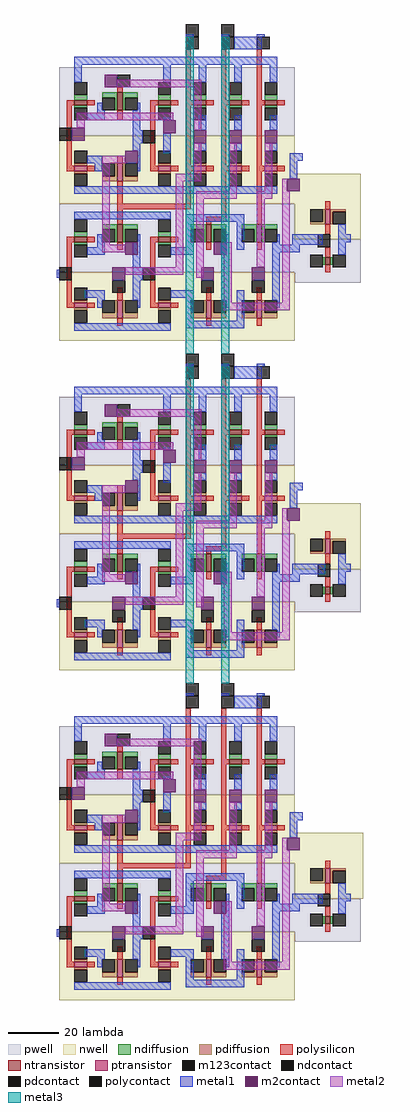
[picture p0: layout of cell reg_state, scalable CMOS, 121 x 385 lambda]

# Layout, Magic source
magic
tech scmos
<< nwell >>
rect 93 300 119 326
rect 93 170 119 196
rect 93 40 120 66
<< pwell >>
rect 95 38 104 40
<< metal1 >>
rect 69 375 80 380
rect 95 298 104 302
rect 69 245 80 250
rect 95 168 105 172
rect 69 115 80 120
rect 95 38 104 42
<< m123contact >>
rect 50 380 55 385
rect 64 380 69 385
rect 50 250 55 255
rect 64 250 69 255
rect 50 120 55 125
rect 64 120 69 125
<< metal3 >>
rect 50 255 53 380
rect 64 255 67 380
rect 50 125 53 250
rect 64 125 67 250
use INV1X  INV1X_0
array 0 0 7 0 2 130
transform 1 0 99 0 1 46
box -6 -23 20 12
use reg_one  reg_one_0
array 0 0 98 0 2 130
transform 1 0 15 0 1 3
box -16 -3 81 118
<< end >>

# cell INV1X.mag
magic
tech scmos
<< nwell >>
rect -6 -6 20 12
<< pwell >>
rect -6 -23 20 -6
<< ntransistor >>
rect 6 -16 8 -13
<< ptransistor >>
rect 6 0 8 6
<< ndiffusion >>
rect 5 -16 6 -13
rect 8 -16 9 -13
<< pdiffusion >>
rect 5 1 6 6
rect 0 0 6 1
rect 8 5 14 6
rect 8 0 9 5
<< ndcontact >>
rect 0 -17 5 -12
rect 9 -17 14 -12
<< pdcontact >>
rect 0 1 5 6
rect 9 0 14 5
<< polysilicon >>
rect 6 6 8 9
rect 6 -4 8 0
rect 6 -13 8 -9
rect 6 -19 8 -16
<< polycontact >>
rect 3 -9 8 -4
<< metal1 >>
rect 11 -4 14 0
rect 11 -7 16 -4
rect 11 -12 14 -7
<< end >>

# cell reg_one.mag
magic
tech scmos
<< nwell >>
rect -15 51 78 78
rect -15 -3 78 24
<< pwell >>
rect -15 78 78 105
rect -15 24 78 51
<< ntransistor >>
rect 8 88 10 95
<< ptransistor >>
rect 8 60 10 67
<< ndiffusion >>
rect 2 93 8 95
rect 7 88 8 93
rect 10 93 16 95
rect 10 88 11 93
<< pdiffusion >>
rect 7 62 8 67
rect 2 60 8 62
rect 10 62 11 67
rect 10 60 16 62
<< ndcontact >>
rect 2 88 7 93
rect 11 88 16 93
<< pdcontact >>
rect 2 62 7 67
rect 11 62 16 67
<< polysilicon >>
rect 8 95 10 97
rect 35 91 37 112
rect 49 91 51 112
rect 63 91 65 112
rect 8 84 10 88
rect 8 67 10 70
rect 8 51 10 60
rect 35 51 37 64
rect 8 49 37 51
rect 8 46 10 49
rect 49 46 51 65
rect 43 44 51 46
rect 63 44 65 66
rect 8 14 10 18
rect 43 14 45 18
rect 63 14 65 18
<< polycontact >>
rect 35 112 40 117
rect 49 112 54 117
rect 63 112 68 117
rect 8 97 13 102
rect -15 76 -10 81
rect 18 75 23 80
rect -15 21 -10 26
rect 18 21 23 26
<< metal1 >>
rect 35 117 38 118
rect 49 117 52 118
rect 63 117 66 118
rect -9 106 71 109
rect -9 99 -6 106
rect 26 99 29 106
rect 40 99 43 106
rect 54 99 57 106
rect 68 99 71 106
rect 0 88 2 91
rect 16 88 17 91
rect 0 87 3 88
rect -4 84 3 87
rect 14 80 17 88
rect 26 84 29 85
rect 14 75 18 80
rect 40 80 43 86
rect 54 80 57 86
rect 68 80 71 86
rect 14 72 17 75
rect -4 67 2 70
rect -1 64 2 67
rect 16 64 17 72
rect 26 71 29 79
rect 40 72 43 75
rect 54 72 57 75
rect 68 72 71 75
rect 76 68 81 71
rect 76 61 79 68
rect -9 55 71 58
rect -9 45 29 48
rect 35 44 58 47
rect 0 34 3 35
rect -4 31 3 34
rect 35 34 38 44
rect 55 37 58 44
rect 29 31 38 34
rect 77 35 81 39
rect 71 32 80 35
rect -16 22 -15 25
rect 16 21 18 26
rect 69 22 72 25
rect -5 14 1 17
rect 29 14 35 17
rect 35 5 38 12
rect 55 5 58 13
rect -9 1 29 4
rect 35 2 58 5
<< m2contact >>
rect 3 97 8 102
rect -10 76 -5 81
rect 26 79 31 84
rect 11 67 16 72
rect 38 75 43 80
rect 52 75 57 80
rect 66 75 71 80
rect 75 56 80 61
rect 11 31 16 36
rect 46 31 51 36
<< metal2 >>
rect 8 97 41 100
rect -8 84 30 87
rect -8 81 -5 84
rect 38 80 41 97
rect 2 67 11 70
rect 2 35 5 67
rect 38 63 41 75
rect 31 60 41 63
rect 2 32 11 35
rect 31 26 34 60
rect 52 56 55 75
rect 66 56 69 75
rect 11 23 34 26
rect 39 53 55 56
rect 63 53 69 56
rect 73 56 75 61
rect 39 22 42 53
rect 51 31 53 36
rect 50 12 53 31
rect 63 26 66 53
rect 73 12 76 56
rect 50 9 76 12
use inv_small  inv_small_0
transform 1 0 1 0 1 0
box -13 4 -2 45
use inv_small  inv_small_1
transform 1 0 34 0 1 0
box -13 4 -2 45
use inv_small  inv_small_2
transform 1 0 1 0 1 54
box -13 4 -2 45
use inv_small  inv_small_3
transform 1 0 34 0 1 54
box -13 4 -2 45
use inv_small  inv_small_4
transform 1 0 48 0 1 54
box -13 4 -2 45
use inv_small  inv_small_5
transform 1 0 62 0 1 54
box -13 4 -2 45
use inv_small  inv_small_6
transform 1 0 76 0 1 54
box -13 4 -2 45
use inv_small  inv_small_7
transform 1 0 1 0 1 0
box -13 4 -2 45
use inv_small  inv_small_8
transform 1 0 34 0 1 0
box -13 4 -2 45
use inv_small  inv_small_9
transform 1 0 1 0 1 54
box -13 4 -2 45
use inv_small  inv_small_10
transform 1 0 48 0 1 54
box -13 4 -2 45
use inv_small  inv_small_11
transform 1 0 34 0 1 54
box -13 4 -2 45
use inv_small  inv_small_12
transform 1 0 76 0 1 54
box -13 4 -2 45
use inv_small  inv_small_13
transform 1 0 62 0 1 54
box -13 4 -2 45
use trans_gate  trans_gate_0
transform 1 0 5 0 1 -2
box -5 5 12 48
use trans_gate  trans_gate_1
transform 1 0 40 0 1 -2
box -5 5 12 48
use trans_gate  trans_gate_2
transform 1 0 60 0 1 -2
box -5 5 12 48
use trans_gate  trans_gate_3
transform 1 0 5 0 1 -2
box -5 5 12 48
use trans_gate  trans_gate_4
transform 1 0 40 0 1 -2
box -5 5 12 48
use trans_gate  trans_gate_5
transform 1 0 60 0 1 -2
box -5 5 12 48
<< labels >>
rlabel metal1 35 117 38 118 1 w
rlabel metal1 49 117 52 118 1 r0
rlabel metal1 63 117 66 118 1 r1
rlabel metal1 -9 45 8 48 1 GND!
rlabel metal1 -9 1 11 4 5 Vdd!
rlabel metal1 -9 106 11 109 1 GND!
rlabel metal1 -9 55 11 58 5 Vdd!
rlabel metal1 -16 22 -15 25 7 in
rlabel metal1 14 73 17 77 7 stat_2
rlabel nwell 0 21 2 23 1 test
rlabel metal1 80 68 81 71 3 port0
rlabel metal1 80 36 81 39 3 port1
<< end >>

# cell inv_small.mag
magic
tech scmos
<< ntransistor >>
rect -10 36 -5 38
<< ptransistor >>
rect -10 10 -5 12
<< ndiffusion >>
rect -10 38 -5 40
rect -10 35 -5 36
<< pdiffusion >>
rect -10 12 -5 13
rect -10 9 -5 10
<< ndcontact >>
rect -10 40 -5 45
rect -10 30 -5 35
<< pdcontact >>
rect -10 13 -5 18
rect -10 4 -5 9
<< polysilicon >>
rect -13 36 -10 38
rect -5 36 -2 38
rect -13 12 -11 36
rect -13 10 -10 12
rect -5 10 -2 12
<< end >>

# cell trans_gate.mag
magic
tech scmos
<< ntransistor >>
rect 3 38 5 45
<< ptransistor >>
rect 3 8 5 15
<< ndiffusion >>
rect -3 43 3 45
rect 2 38 3 43
rect 5 43 11 45
rect 5 38 6 43
<< pdiffusion >>
rect 2 10 3 15
rect -3 8 3 10
rect 5 10 6 15
rect 5 8 11 10
<< ndcontact >>
rect -3 38 2 43
rect 6 38 11 43
<< pdcontact >>
rect -3 10 2 15
rect 6 10 11 15
<< polysilicon >>
rect 3 45 5 48
rect 3 35 5 38
rect 3 15 5 18
rect 3 5 5 8
<< polycontact >>
rect 1 18 6 23
<< metal1 >>
rect -5 38 -3 41
rect 11 38 12 41
rect -5 35 -2 38
rect -5 15 -2 19
rect 9 15 12 38
rect -5 12 -3 15
rect 11 12 12 15
<< m2contact >>
rect 1 23 6 28
<< end >>
